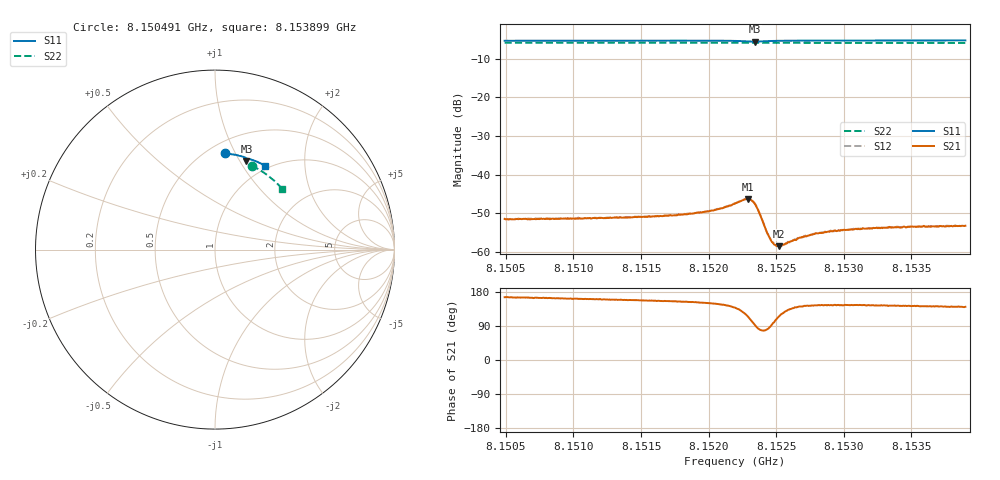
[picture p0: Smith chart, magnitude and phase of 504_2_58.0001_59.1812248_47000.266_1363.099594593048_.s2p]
#  HZ  S  RI  R  50.00
! Rohde & Schwarz Vector Network Analyzer
! Rohde-Schwarz,ZNB20-2Port,1311601062101988,3.16
! Created: UTC 3/21/2024, 1:12:54 AM
! freq[Hz]  re:S11  im:S11  re:S21  im:S21  re:S12  im:S12  re:S22  im:S22
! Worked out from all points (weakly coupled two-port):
!   401 points, 8.150491 GHz to 8.153899 GHz, reference 50 ohm
!   highest |S21| = -46.29 dB at 8.152288 GHz (marker M1); lowest = -58.5 dB at 8.152519 GHz (marker M2)
!   lowest |S11| = -5.6 dB at 8.15234 GHz (marker M3), VSWR 3.20, Z = 39.2 + j53.4 ohm
!   |S11| at or under -10 dB: nowhere
!   |S22| runs from -5.9 to -5.9 dB; largest |S21 - S12| = 0.00011
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8.1504907e9  0.0567 0.5358  -0.0026 0.00066  -0.00259 0.00068  0.2052 0.4664
8.1510616e9  0.0965 0.531  -0.00257 0.00087  -0.00258 0.000885  0.2378 0.4497
8.1516324e9  0.136 0.5231  -0.00264 0.00117  -0.00267 0.00124  0.269 0.4309
8.1519647e9  0.1598 0.5161  -0.00289 0.0016  -0.00286 0.00163  0.2865 0.4189
8.1520925e9  0.1697 0.512  -0.00307 0.00203  -0.00306 0.00207  0.2931 0.4139
8.1521948e9  0.1777 0.5063  -0.00316 0.00283  -0.00311 0.00292  0.2983 0.4099
8.1522885e9  0.1803 0.4962  -0.00208 0.00438  -0.00204 0.00444  0.3026 0.406
8.1523141e9  0.1779 0.4941  -0.00116 0.00457  -0.00114 0.00459  0.3037 0.405
8.1523396e9  0.1748 0.4941  -0.000234 0.00423  -0.00019 0.00428  0.3049 0.4042
8.1523737e9  0.1726 0.4976  0.000501 0.00318  0.000592 0.00321  0.3066 0.403
8.1524248e9  0.1754 0.5029  0.00035 0.00189  0.000384 0.00186  0.3093 0.4012
8.1524504e9  0.1779 0.5044  9.61e-05 0.00153  0.000149 0.00156  0.3105 0.4002
8.1524845e9  0.1814 0.5052  -0.000215 0.00123  -0.000241 0.00127  0.3122 0.3989
8.1525015e9  0.1831 0.5055  -0.000367 0.00114  -0.00037 0.00119  0.313 0.3983
8.1525185e9  0.1848 0.5056  -0.000497 0.00108  -0.000476 0.00109  0.3138 0.3975
8.1525611e9  0.1887 0.5053  -0.000747 0.001  -0.000756 0.00102  0.3161 0.3958
8.1526719e9  0.1978 0.5033  -0.0012 0.000959  -0.00115 0.000987  0.3215 0.3912
8.152723e9  0.2017 0.5022  -0.00127 0.000958  -0.00131 0.00102  0.324 0.3892
8.1527656e9  0.205 0.5013  -0.00136 0.000987  -0.00136 0.000987  0.3258 0.3874
8.152919e9  0.2156 0.4973  -0.0015 0.00108  -0.00152 0.00111  0.3332 0.3808
8.1533365e9  0.2429 0.4855  -0.0017 0.00126  -0.00168 0.00123  0.3522 0.3625
8.1538988e9  0.2778 0.4676  -0.00168 0.00139  -0.00166 0.00143  0.376 0.3363
